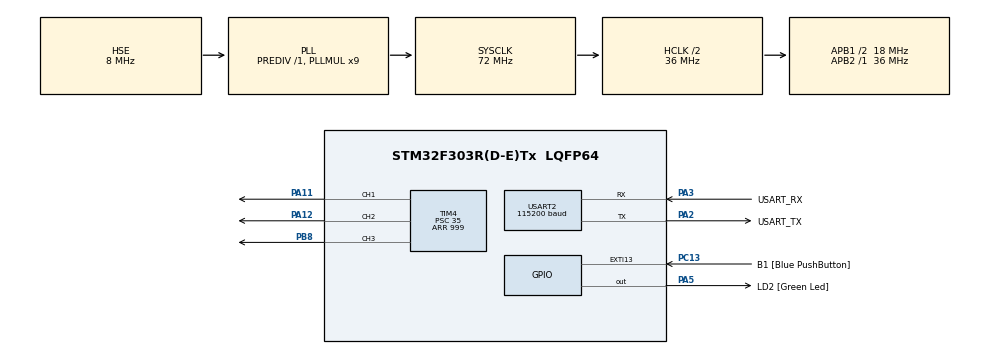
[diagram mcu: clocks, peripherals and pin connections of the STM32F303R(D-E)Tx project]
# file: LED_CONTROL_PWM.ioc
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Dma.Request0=TIM4_CH1
Dma.Request1=TIM4_CH2
Dma.Request2=TIM4_CH3
Dma.TIM4_CH1.0.Direction=DMA_MEMORY_TO_PERIPH
Dma.TIM4_CH1.0.Instance=DMA1_Channel1
Dma.TIM4_CH1.0.MemDataAlignment=DMA_MDATAALIGN_WORD
Dma.TIM4_CH1.0.MemInc=DMA_MINC_ENABLE
Dma.TIM4_CH1.0.Mode=DMA_CIRCULAR
Dma.TIM4_CH1.0.PeriphDataAlignment=DMA_PDATAALIGN_HALFWORD
Dma.TIM4_CH1.0.PeriphInc=DMA_PINC_DISABLE
Dma.TIM4_CH1.0.Priority=DMA_PRIORITY_HIGH
Dma.TIM4_CH2.1.Direction=DMA_MEMORY_TO_PERIPH
Dma.TIM4_CH2.1.Instance=DMA1_Channel4
Dma.TIM4_CH2.1.MemDataAlignment=DMA_MDATAALIGN_WORD
Dma.TIM4_CH2.1.MemInc=DMA_MINC_ENABLE
Dma.TIM4_CH2.1.Mode=DMA_CIRCULAR
Dma.TIM4_CH2.1.PeriphDataAlignment=DMA_PDATAALIGN_HALFWORD
Dma.TIM4_CH2.1.PeriphInc=DMA_PINC_DISABLE
Dma.TIM4_CH2.1.Priority=DMA_PRIORITY_HIGH
Dma.TIM4_CH3.2.Direction=DMA_MEMORY_TO_PERIPH
Dma.TIM4_CH3.2.Instance=DMA1_Channel5
Dma.TIM4_CH3.2.MemDataAlignment=DMA_MDATAALIGN_WORD
Dma.TIM4_CH3.2.MemInc=DMA_MINC_ENABLE
Dma.TIM4_CH3.2.Mode=DMA_CIRCULAR
Dma.TIM4_CH3.2.PeriphDataAlignment=DMA_PDATAALIGN_HALFWORD
Dma.TIM4_CH3.2.PeriphInc=DMA_PINC_DISABLE
Dma.TIM4_CH3.2.Priority=DMA_PRIORITY_HIGH
Mcu.Family=STM32F3
Mcu.Name=STM32F303R(D-E)Tx
Mcu.Package=LQFP64
NVIC.DMA1_Channel1_IRQn=true\:0\:0\:false\:false\:true\:false\:true\:true
NVIC.DMA1_Channel4_IRQn=true\:0\:0\:false\:false\:true\:false\:true\:true
NVIC.DMA1_Channel5_IRQn=true\:0\:0\:false\:false\:true\:false\:true\:true
NVIC.PriorityGroup=NVIC_PRIORITYGROUP_0
NVIC.TIM4_IRQn=true\:0\:0\:false\:false\:true\:true\:true\:true
NVIC.USART2_IRQn=true\:0\:0\:false\:false\:true\:true\:true\:true
PA11.Signal=S_TIM4_CH1
PA12.Signal=S_TIM4_CH2
PA13.GPIO_Label=TMS
PA13.Mode=Serial_Wire
PA13.Signal=SYS_JTMS-SWDIO
PA14.GPIO_Label=TCK
PA14.Mode=Serial_Wire
PA14.Signal=SYS_JTCK-SWCLK
PA2.GPIO_Label=USART_TX
PA2.GPIO_Mode=GPIO_MODE_AF_PP
PA2.GPIO_PuPd=GPIO_NOPULL
PA2.GPIO_Speed=GPIO_SPEED_FREQ_LOW
PA2.Mode=Asynchronous
PA2.Signal=USART2_TX
PA3.GPIO_Label=USART_RX
PA3.GPIO_Mode=GPIO_MODE_AF_PP
PA3.GPIO_PuPd=GPIO_NOPULL
PA3.GPIO_Speed=GPIO_SPEED_FREQ_LOW
PA3.Mode=Asynchronous
PA3.Signal=USART2_RX
PA5.GPIO_Label=LD2 [Green Led]
PA5.GPIO_Mode=GPIO_MODE_OUTPUT_PP
PA5.GPIO_PuPd=GPIO_NOPULL
PA5.GPIO_Speed=GPIO_SPEED_FREQ_LOW
PA5.Signal=GPIO_Output
PB3.GPIO_Label=SWO
PB3.Signal=SYS_JTDO-TRACESWO
PB8.Signal=S_TIM4_CH3
PC13.GPIO_Label=B1 [Blue PushButton]
PC13.GPIO_ModeDefaultEXTI=GPIO_MODE_IT_FALLING
PC13.Signal=GPXTI13
PC14-OSC32_IN.Mode=LSE-External-Oscillator
PC14-OSC32_IN.Signal=RCC_OSC32_IN
PC15-OSC32_OUT.Mode=LSE-External-Oscillator
PC15-OSC32_OUT.Signal=RCC_OSC32_OUT
PF0-OSC_IN.Mode=HSE-External-Oscillator
PF0-OSC_IN.Signal=RCC_OSC_IN
PF1-OSC_OUT.Mode=HSE-External-Oscillator
PF1-OSC_OUT.Signal=RCC_OSC_OUT
ProjectManager.HeapSize=0x200
ProjectManager.StackSize=0x400
ProjectManager.TargetToolchain=STM32CubeIDE
RCC.AHBCLKDivider=RCC_SYSCLK_DIV2
RCC.AHBFreq_Value=36000000
RCC.APB1CLKDivider=RCC_HCLK_DIV2
RCC.APB1Freq_Value=18000000
RCC.APB1TimFreq_Value=36000000
RCC.APB2Freq_Value=36000000
RCC.APB2TimFreq_Value=36000000
RCC.CortexFreq_Value=36000000
RCC.HCLKFreq_Value=36000000
RCC.HSE_VALUE=8000000
RCC.HSI_VALUE=8000000
RCC.PLLM=8
RCC.PLLMUL=RCC_PLL_MUL9
RCC.PLLN=336
RCC.PLLP=RCC_PLLP_DIV4
RCC.PLLQ=7
RCC.PLLSourceVirtual=RCC_PLLSOURCE_HSE
RCC.RCC_PLLsource_Clock_Source_FROM_HSE=RCC_HSE_PREDIV_DIV2
RCC.SYSCLKFreq_VALUE=72000000
RCC.SYSCLKSourceVirtual=RCC_SYSCLKSOURCE_PLLCLK
RCC.USBFreq_Value=72000000
SH.S_TIM4_CH1.0=TIM4_CH1,PWM Generation1 CH1
SH.S_TIM4_CH2.0=TIM4_CH2,PWM Generation2 CH2
SH.S_TIM4_CH3.0=TIM4_CH3,PWM Generation3 CH3
TIM4.AutoReloadPreload=TIM_AUTORELOAD_PRELOAD_ENABLE
TIM4.Channel-PWM\ Generation1\ CH1=TIM_CHANNEL_1
TIM4.Channel-PWM\ Generation2\ CH2=TIM_CHANNEL_2
TIM4.Channel-PWM\ Generation3\ CH3=TIM_CHANNEL_3
TIM4.Period=999
TIM4.Prescaler=35
USART2.BaudRate=115200
USART2.VirtualMode-Asynchronous=VM_ASYNC
VP_TIM4_VS_ClockSourceINT.Mode=Internal
board=NUCLEO-F303RE

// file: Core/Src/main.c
/* USER CODE BEGIN Header */
/**
  ******************************************************************************
  * @file           : main.c
  * @brief          : Main program body
  ******************************************************************************
  * @attention
  *
  * Copyright (c) 2022 STMicroelectronics.
  * All rights reserved.
  *
  * This software is licensed under terms that can be found in the LICENSE file
  * in the root directory of this software component.
  * If no LICENSE file comes with this software, it is provided AS-IS.
  *
  ******************************************************************************
  */
/* USER CODE END Header */
#include "main.h"

/* USER CODE BEGIN Includes */

#include <string.h>
#include <stdio.h>
#include <stdarg.h>
#include <stdlib.h>
#include <math.h>

/* USER CODE END Includes */

TIM_HandleTypeDef htim4;
DMA_HandleTypeDef hdma_tim4_ch1;
DMA_HandleTypeDef hdma_tim4_ch2;
DMA_HandleTypeDef hdma_tim4_ch3;

UART_HandleTypeDef huart2;

/* USER CODE BEGIN PV */
#define RX_BF_length 512												// Max długość buforu odczytu
#define TX_BF_length 1512												// Max długość buforu transmisji
uint8_t RX_BF[RX_BF_length];											// Deklaracja zmiennej dla bufora odczytu
uint8_t TX_BF[TX_BF_length];											// Deklaracja zmiennej dla bufora transmisji

// Indeksy buforów, pobieranych bezpośrednio z pamięci (volatile)

__IO int RX_IDX_EMPTY = 0;
__IO int RX__IDX_BUSY = 0;
__IO int TX_IDX_EMPTY = 0;
__IO int TX_IDX_BUSY = 0;

/* USER CODE END PV */

void SystemClock_Config(void);
static void MX_GPIO_Init(void);
static void MX_DMA_Init(void);
static void MX_USART2_UART_Init(void);
static void MX_TIM4_Init(void);
/* USER CODE BEGIN PFP */

// Prototypy funkcji
int getSection(int8_t dlugoscSekcji, int8_t sekcja, int16_t globalIndex, char oczekiwanyZnak);	// Funkcja pobierająca sekcjie ramki oddzielone separatorami
int isNUM(int8_t numberLength, int16_t maxValue, int8_t minValue ,int8_t section);				// Funkcja sprawdzajaca czy znaki są z systemu dziesiętnego oraz konwertująca STR -> INT
void frameRecall(int ID, int sectionID);		// Komunikaty zwrotne
void searchFrame();								// Poszukiwanie ramki / kolekcjonowanie
void readFrame();								// Wydzielanie ramki na sekcjie
void getCommand();								// Wydzielanie danych na komende i argument
void getNumArgument();							// Zamiana argumentu String -> Int
void executeCommand();							// Wykonanie komendy
void checkCRC();								// Sprawdzenie CRC
void checkData();								// Sprawdzenie czy sekcja danych nie zawiera błędów

// Prototypy komend
void BRGHT(int stockBrigthness);				// Zmiana jasności diody
void STCLR();									// Zmiana koloru poprzez wpisanie 3 zmiennych
void COLOR();									// Zmiana koloru poprzez wpisanie nazwy koloru
void EFFCT();									// Zmiania efektu diody
void RGBST();									// Wł/Wył diody
void GETST();									// Pobieranie infomracji o diodzie stan/jasność/efekt

// Protorypy funkcji generujących efekty.
void generatePoliceLights(uint32_t *redPWMValues, uint32_t *greenPWMValues, uint32_t *bluePWMValues);
void generateDiscoEffect(uint32_t *redPWMValues, uint32_t *greenPWMValues, uint32_t *bluePWMValues);
void generateBreathingEffect(uint32_t *redPWMValues, uint32_t *greenPWMValues, uint32_t *bluePWMValues);
void generateHeartBeatEffect(uint32_t *redPWMValues, uint32_t *greenPWMValues, uint32_t *bluePWMValues);
void generateBlinkingEffect(uint32_t *redPWMValues, uint32_t *greenPWMValues, uint32_t *bluePWMValues);
void generaterandomBlinkingEffect(uint32_t *redPWMValues, uint32_t *greenPWMValues, uint32_t *bluePWMValues);

// Prototyp funkcji oraz zmiennej do srpawdzania CRC
unsigned int crc(char *data, unsigned int length);

// Tablica wartości CRC, kod generujący tą tablice jest w pliku help.txt
unsigned int crc_table[256] = {0, 49345, 49537, 320, 49921, 960, 640, 49729, 50689, 1728, 1920, 51009, 1280, 50625, 50305, 1088, 52225,
		3264, 3456, 52545, 3840, 53185, 52865, 3648, 2560, 51905, 52097, 2880, 51457, 2496, 2176, 51265, 55297, 6336, 6528, 55617,
		6912, 56257, 55937, 6720, 7680, 57025, 57217, 8000, 56577, 7616, 7296, 56385, 5120, 54465, 54657, 5440, 55041, 6080, 5760,
		54849, 53761, 4800, 4992, 54081, 4352, 53697, 53377, 4160, 61441, 12480, 12672, 61761, 13056, 62401, 62081, 12864, 13824,
		63169, 63361, 14144, 62721, 13760, 13440, 62529, 15360, 64705, 64897, 15680, 65281, 16320, 16000, 65089, 64001, 15040, 15232,
		64321, 14592, 63937, 63617, 14400, 10240, 59585, 59777, 10560, 60161, 11200, 10880, 59969, 60929, 11968, 12160, 61249, 11520,
		60865, 60545, 11328, 58369, 9408, 9600, 58689, 9984, 59329, 59009, 9792, 8704, 58049, 58241, 9024, 57601, 8640, 8320, 57409,
		40961, 24768, 24960, 41281, 25344, 41921, 41601, 25152, 26112, 42689, 42881, 26432, 42241, 26048, 25728, 42049, 27648, 44225,
		44417, 27968, 44801, 28608, 28288, 44609, 43521, 27328, 27520, 43841, 26880, 43457, 43137, 26688, 30720, 47297, 47489, 31040,
		47873, 31680, 31360, 47681, 48641, 32448, 32640, 48961, 32000, 48577, 48257, 31808, 46081, 29888, 30080, 46401, 30464, 47041,
		46721, 30272, 29184, 45761, 45953, 29504, 45313, 29120, 28800, 45121, 20480, 37057, 37249, 20800, 37633, 21440, 21120, 37441,
		38401, 22208, 22400, 38721, 21760, 38337, 38017, 21568, 39937, 23744, 23936, 40257, 24320, 40897, 40577, 24128, 23040, 39617,
		39809, 23360, 39169, 22976, 22656, 38977, 34817, 18624, 18816, 35137, 19200, 35777, 35457, 19008, 19968, 36545, 36737, 20288,
		36097, 19904, 19584, 35905, 17408, 33985, 34177, 17728, 34561, 18368, 18048, 34369, 33281, 17088, 17280, 33601, 16640, 33217, 32897, 16448, };

/* USER CODE END PFP */

/* USER CODE BEGIN 0 */

// __________________________________ USART FUNCTIONS BEGIN __________________________________

uint8_t USART_kbhit()																			// Funkcja sprawdza czy jest cos w buforze,
{																								// jezeli nie ma zwraca false(0) inaczej true(1)
	if (RX_IDX_EMPTY == RX__IDX_BUSY) return 0;
	else return 1;
}

int16_t USART_getChar()																			// Funkcja pobierająca znak z bufora
{
	int16_t charTMP;
	if (RX_IDX_EMPTY != RX__IDX_BUSY)
	{
		charTMP = RX_BF[RX__IDX_BUSY];
		RX__IDX_BUSY++;
		if (RX__IDX_BUSY >= RX_BF_length) RX__IDX_BUSY = 0;
		return charTMP;
	}
	else return -1;
}

void USART_fsend(char* format, ...)														// Wysyłanie do terminala
{
	char tmp_rs[RX_BF_length];															// !!!!!!!!!!!!!!!!!!!!!!!!!!!!!!!!!!!!!!!!!! Jezeli tu damy za małą wartość program sie wysypie???
	int i;
	__IO int idx;
	va_list arglist;																	// Zmienna do obsługi formatowania argumentów
	va_start(arglist,format);															// Umożliwia dostęp do zmiennych argumentów funkcji
	vsprintf(tmp_rs,format,arglist);													// Połączenie łańcucha argumentów i przypisanie do tmp_rs
	va_end(arglist);
	idx = TX_IDX_EMPTY;

	for(i = 0; i < strlen(tmp_rs) ; i++)
	{
		TX_BF[idx] = tmp_rs[i];															// Przepisanie znaku do bufora transmisji
		idx++;
		if (idx >= TX_BF_length) idx = 0;												// Zawinięcie bufora jeżeli indeks wyjdzie poza zakres
	}
	__disable_irq();																	// Wyłączenie zapytań przerwań

	if ((TX_IDX_EMPTY == TX_IDX_BUSY) && (__HAL_UART_GET_FLAG(&huart2,UART_FLAG_TXE)==SET))
	{
		TX_IDX_EMPTY = idx;
		uint8_t tmp = TX_BF[TX_IDX_BUSY];												// Zmienna zawierająca znak do wysłania
		TX_IDX_BUSY++;
		if (TX_IDX_BUSY >= TX_BF_length) TX_IDX_BUSY = 0;
		HAL_UART_Transmit_IT(&huart2, &tmp, 1);											// Transmisja elementu
	} else TX_IDX_EMPTY = idx;
	__enable_irq();																		// Włączenie zapytań przerwań
}//fsend

void HAL_UART_TxCpltCallback(UART_HandleTypeDef *huart)
{
	if (huart == &huart2)
	{
		if (TX_IDX_EMPTY != TX_IDX_BUSY)
		{
			uint8_t tmp = TX_BF[TX_IDX_BUSY];
			TX_IDX_BUSY++;
			if (TX_IDX_BUSY >= TX_BF_length) TX_IDX_BUSY = 0;
			HAL_UART_Transmit_IT(&huart2, &tmp, 1);
		}
	}
}

void HAL_UART_RxCpltCallback(UART_HandleTypeDef *huart)
{
	if (huart == &huart2)
	{
		RX_IDX_EMPTY++;
		if (RX_IDX_EMPTY >= RX_BF_length)
		{
			RX_IDX_EMPTY = 0;
		}
		HAL_UART_Receive_IT(&huart2, &RX_BF[RX_IDX_EMPTY], 1);
	}
}

// __________________________________ USART FUNCTIONS END __________________________________

// ====================================================== SEARCH FRAME FUNCTION START ======================================================

#define MAX_SIZE 218											// Zdefiniowanie max. długości ramki
#define MIN_SIZE 28												// Zdefiniowanie min. długość ramki

int16_t frameLength = 0;										// Zmianna obliczająca długość ramki
int8_t detectionFlag = 0;										// Flaga detekcji ramki.
char frame[MAX_SIZE];											// Tablica ramki

void searchFrame(){

	// Oczekiwanie na znak rozpoczęcia
	int16_t character = USART_getChar();
	if (character < 0) return;

	USART_fsend("%c", character);							// Podobno nie powinno sie wyświetlać wysłanych znaków (? Zaliczenie ?)

	// Jeśli znaleziono znak rozpoczęcia rozpoczyna odczyt
	if (character == '@') {
	    frameLength = 0;
	    detectionFlag = 1;
	}

	if (detectionFlag == 1) {
	    frame[frameLength++] = character;
	    // Jeśli znaleziono znak końca ramki
	    if (character == '$') {
	        frame[frameLength] = '\0';
	        // Reset funkcji jeżeli ramka jest za krótka
	        if (frameLength < 28) {
	    		detectionFlag = 0;
	    		return;
	    	}
	        readFrame();
	        detectionFlag = 0;
	    }
	    // Jeśli ramka przekroczyła maksymalny rozmiar
	    if (frameLength > MAX_SIZE){
	        detectionFlag = 0;
	        return;
	    }
	}
}

// ====================================================== SEARCH FRAME FUNCTION END ======================================================

// ====================================================== READ FRAME FUNCTION START ======================================================

#define SENDER 1													// Odczyt nadawcy z ramki
#define RECEIVER 2													// Odczyt adresata z ramki
#define COMMAND_LENGTH 3											// Odczyt długości komendy
#define COMMAND 4													// Odczyt sekcji komendy
#define CHECK_SUM 5													// Odczyt sumy kontrolnej
#define EXECUTE 6													// Wykonanie komendy

#define startCharacter '@'											// Znak rozpoczęcia ramki
#define endCharacter '$'											// Znak końca ramki
#define separator ':'												// Separator
#define senAdr "PC1"												// ID nadawcy
#define recAdr "STM"												// ID odbiorcy

// Dane odczytane z ramki
char senderAdr[4];													// Tablica z danymi nadawcy ( 3 znaki + '\0' )
char receiverAdr[4];												// Tablica z danymi odbiorcy ( 3 znaki + '\0' )
int16_t maxCmdLen = 0;												// Długość komendy
char receivedData[MAX_SIZE];										// Tablica z przysłanymi danymi
char commandType[4];												// Tablica z danymi o typie komendy ( 3 znaki + '\0' )
char command[15];													// Tablica z komendą
char commandArg[MAX_SIZE];											// Tablica z danymi argumentu komendy
int32_t frameCRC = 0;												// Zmienna zapisująca sumę CRC podaną w ramce
unsigned int crc_value;												// Obliczone CRC przez program
int numArguments[3];												// Argumenty liczbowe

// Zmienne pomocnicze
char tmpArr[MAX_SIZE];												// Tablica pomocnicza przy obróbce danych
int errorFlag = 0;													// Flaga błędu. 0 - Oznacza ze nie ma błędu, 1 - Oznacza ze nie ma błędu.

/* 	 ******************************************************* TODO LIST *******************************************************

								   - Zmienić i sprawdzić czy DMA prawidłowo ndapisuje buffory w połowie i na końcu.
					* Po zmianie testy efektów nie wykazały żadnych błędów (przerwań w wypełnieniu / pominięcia nadpisania itp.)

						     - Sprwadzić poprawność warunku w searchFrame() sprawdzającego min. długość ramki.
						     	 	 	 	 * Prawidłowo program nie dopuszcza ramki do analizy

							- Zmiana sprawdzania poprawności długości sekcji danych z strlen na coś innego
						* Usunąłem ponieważ za sprawdzanie długość sekcji danych odpowiada funckja getSection

 	 ************************************************************************************************************************* */

int getSection(int8_t dlugoscSekcji, int8_t sekcjaID, int16_t globalIndex, char oczekiwanyZnak){
	// Pętla odpowiedzialna za pobieranie znaków do tablicy tymczasowej
	for (int localIndex = 0; localIndex < dlugoscSekcji + 1; localIndex++){
		if (errorFlag == 1) return 0;
		// Sprawdzenie czy w sekcji nie znajdują się separatory np. @PC:
		if (localIndex < dlugoscSekcji){
			// Sprawdzenie czy znak to '\0'
			if (frame[globalIndex] == '\0') frameRecall(1003, sekcjaID);
			else if (frame[globalIndex] == separator) frameRecall(1001, sekcjaID);
			else tmpArr[localIndex] = frame[globalIndex];
		} else {
			// Jeżeli w sekcji nie było separatorów sprawdza czy ':' lub '$' znajduje się za nią.
			if (frame[globalIndex] != oczekiwanyZnak) frameRecall(1002, sekcjaID);
			else tmpArr[localIndex] = '\0';
		}
		globalIndex++;
	}
	return globalIndex; // Zwraca wartość indeksu w celu odczytu dalszej części ramki
}

int isNUM(int8_t numberLength, int16_t maxValue, int8_t minValue, int8_t section){
	// Sprawdzenie czy znaki są liczbami systemu dziesiętnego

	for (int i = 0; i < numberLength; i++){
		if ((tmpArr[i] < '0' || tmpArr[i] > '9') && errorFlag == 0) frameRecall(2001, section);
	}
	if (errorFlag == 0){
		int number = atoi(tmpArr);
		// Sprawdzenie czy liczba mieści się w dopuszczalnym zakresie.
		if (number < minValue || number > maxValue) frameRecall(2002, section);
		else return number;
	}
} // Jeżeli nie było błędów funkcja zwraca liczbe typu INT

void readFrame(){
	int16_t globalIndex = 1;					// Indeks odczytu przysłanej ramki
	int8_t section = 0;							// Flaga sekcji
	errorFlag = 0;								// Zerowanie flagi błędu

	// Pętla wykona się tyle razy ile jest sekcji + sekcja anonimowa EXECUTE ( Tylko widoczna dla programu )
	for (section; section <= EXECUTE; section){
		// Sprawdzenie czy nie było błędu w poprzedniej sekcji.
		if (errorFlag == 0) section++;
		else return;

		switch (section){
		case SENDER:
			globalIndex = getSection(3, section, globalIndex, separator);
			if (errorFlag == 0) strcpy(senderAdr, tmpArr);
			// Sprawdzenie ID nadawcy
			if (strcmp(senderAdr, senAdr) != 0 && errorFlag == 0) frameRecall(4001, section);
			break;
		case RECEIVER:
			globalIndex = getSection(3, section, globalIndex, separator);
			if (errorFlag == 0) strcpy(receiverAdr, tmpArr);
			// Sprawdzenie ID adresata
			if (strcmp(receiverAdr, recAdr) != 0 && errorFlag == 0) frameRecall(4002, section);
			break;
		case COMMAND_LENGTH:
			globalIndex = getSection(3, section, globalIndex, separator);
			// Konwersja tablicy char -> int
			if (errorFlag == 0) maxCmdLen = isNUM(3, 200, 10, section);
			break;
		case COMMAND:
			globalIndex = getSection(maxCmdLen, section, globalIndex, separator);
			if (errorFlag == 0) strcpy(receivedData, tmpArr);
			break;
		case CHECK_SUM:
			globalIndex = getSection(3, section, globalIndex, endCharacter);
			if (errorFlag == 0) frameCRC = isNUM(3, 999, 0, section);
			break;
		case EXECUTE:
			// Sprawdzenie sumy kontrolnej
			checkCRC();
			// Sprawdzenie sekcji danych ( czy argument / dłgość komendy się zgadzają)
			if (errorFlag == 0) checkData();
			// Pobarnie komendy z sekcji danych
			if (errorFlag == 0) getCommand();
			// Próba wykonania komendy
			if (errorFlag == 0) executeCommand();
			break;
		}
	}
	return;
}

void checkCRC(){
	// Sprawdzenie CRC wynikowe z wysłanym w ramce
	crc_value = crc(receivedData, maxCmdLen) % 999;
	if(crc_value != frameCRC) frameRecall(4003, CHECK_SUM);
}

unsigned int crc(char *data, unsigned int length) {
    unsigned int crc = 0xFFFF;
    for (unsigned int i = 0; i < length; i++) {
        crc = (crc >> 8) ^ crc_table[(crc ^ data[i]) & 0xFF];
    }
    return crc & 0xFFFF;
}

// Sprawdzenie poprawności sekcji danych
void checkData(){

//  Sprawdzenie długości komendy
//	if (strlen(receivedData) != maxCmdLen){
//		frameRecall(4004, COMMAND);
//		return;
//	}

	// Sprawdzenie czy separatory argumentu są na odpowiednich miejscach ( - 1 bo tablica ma jeszcze miejsce dla '\0')
	if (receivedData[8] != '(' || receivedData[maxCmdLen - 1] != ')') {
		frameRecall(4005, COMMAND);
		return;
	}
	// Sprawdzenie czy separatory nie występują w nieoczekiwanych miejscach.
	for (int i = 0; i < maxCmdLen; i++) {
		if (i != 8 && i != maxCmdLen - 1 && (receivedData[i] == '(' || receivedData[i] == ')')) {
			frameRecall(4006, COMMAND);
			return;
		}
	}
}

// Pobranie typu komendy, komendy i argumentu.
void getCommand(){
	// Pobranie typu komendy z sekcji danych
	for (int i = 0; i < 3; i++) {
		commandType[i] = receivedData[i];
	}
	commandType[3] = '\0';

	// Pobranie komendy z sekcji danych
	for (int i = 0; i < 5; i++) {
		command[i] = receivedData[i+3];
	}
	command[5] = '\0';

	// Pobranie argumentu z sekcji danych (typ + komenda + () = 10)
	for (int i = 0; i < maxCmdLen - 10; i++) {
		commandArg[i] = receivedData[i+9];
	}
	// Zamienienie ostatniego znaku argumentu komendy na znak końca stringa
	commandArg[maxCmdLen - 10] = '\0';
	return;
}

// Funkcja konwertująca argument typu STR -> INT
void getNumArgument(){

	// Zerowanie wartości z ostatniej ramki
	for (int i = 0; i < 3; i++) numArguments[i] = 0;

	int numberIndex = 0;                                // Indeks aktualnie odczytywanej liczby
	int argumentNr = 0;                                 // Licznik ilości argumentów

	for (int i = 0; i <= strlen(commandArg); i++){
		tmpArr[numberIndex] = '\0';
		// Jeżeli jest więcej argumentów niż 3 zwraca błąd
        if (argumentNr > 2){
			frameRecall(5007, COMMAND);
			return;
		}
        // Jeżeli znak nie jest separatorem argumentu zapisze znak w tablicy pomocniczej
		if (commandArg[i] != ',' && i != strlen(commandArg)){
			tmpArr[numberIndex++] = commandArg[i];
			tmpArr[numberIndex] = '\0';
		}
        // W przeciwnym razie przejdzie do sprawdzenia argumentu jeżeli jest poprawny odczytuje kolejny
        else {
			numArguments[argumentNr++] = isNUM(numberIndex, 999, 0, COMMAND);
			if (errorFlag == 1) return;
			numberIndex = 0;
		}
	}
}

// Wykonywanie komend
void executeCommand(){
	// Sprawdzenie czy komenda jest typu TXT
	if (strcmp(commandType, "TXT") == 0){
		if (strcmp(command, "COLOR") == 0) COLOR();
		else if (strcmp(command, "EFFCT") == 0) EFFCT();
		else if (strcmp(command, "RGBST") == 0) RGBST();
		else if (strcmp(command, "GETST") == 0) GETST();
        // Jeżeli podana komenda nie istnieje zwórci błąd
		else frameRecall(5001, EXECUTE);
	}
	else if (strcmp(commandType, "NUM") == 0){
		getNumArgument();
		if (errorFlag == 1) return;
		if (strcmp(command, "BRGHT") == 0) BRGHT(0);
		else if (strcmp(command, "STCLR") == 0) STCLR();
        // Jeżeli podana komenda nie istnieje zwróci błąd
		else frameRecall(5002, EXECUTE);
	}
    // Jeżeli podany typ komendy nie istnieje zwórci błąd
    else frameRecall(5003, EXECUTE);
	return;
}

// ====================================================== READ FRAME FUNCTION END ======================================================

// ====================================================== WYKONYWANIE KOMEND START ======================================================
// Deklaracja tablic wykorzystywanych przez DMA

uint32_t redDMAValues_ACTUAL[512];									// Główna tablica DMA używana przez &htim4, TIM_CHANNEL_1 (R)
uint32_t greenDMAValues_ACTUAL[512];								// Główna tablica DMA używana przez &htim4, TIM_CHANNEL_2 (G)
uint32_t blueDMAValues_ACTUAL[512];									// Główna tablica DMA używana przez &htim4, TIM_CHANNEL_3 (B)

uint32_t redDMAValues_NEW[512];                                  	// Tablica DMA podmieniana podczas końca transmisji PWM ( callback )
uint32_t greenDMAValues_NEW[512];                                	// Tablica DMA podmieniana podczas końca transmisji PWM ( callback )
uint32_t blueDMAValues_NEW[512];                                    // Tablica DMA podmieniana podczas końca transmisji PWM ( callback )

uint32_t redDMAValues_SPECIAL[512];                                 // Tablica specjalna do efektów które potrzebują więcej niż  1 callback
uint32_t greenDMAValues_SPECIAL[512];                               // Tablica specjalna do efektów które potrzebują więcej niż  1 callback
uint32_t blueDMABalues_SPECIAL[512];                                // Tablica specjalna do efektów które potrzebują więcej niż  1 callback

int is_half_callbackOne_end = 0;									// Zmienna pilnująca kolejność wypełniania buffora DMA
int is_half_callbackTwo_end = 0;									// Zmienna pilnująca kolejność wypełniania buffora DMA
#define END 1

char actualEffect[20] = {"NONE"};									// Tablica zawierające nazwe aktualnego efektu

#define ON 1
#define OFF -1
#define RESET 0

int ledState = ON;                                                  // Stan diody wł./wył.
float brightness = 100;                                             // Zmienna określająca jasność diody
int prescaler = 35;													// Zmienna zmieniająca częstotliwość

int effectLoop = 1;													// Flaga włączająca i wyłączająca pętle działania efektu
int callbackOne = 0;												// Flaga zmiany efektu
int callbackTwo = 0;												// Dodatkowa flaga zmiany efektu

// ====================================== FUNKCJE POMOCNICZE ======================================

// Inicjalizacja ustawień PWM
void TIM4_change_prescaler(int prescaler) {
    // Ustawienie prescalera w celu zmiany częstotliwości sygnału
	__HAL_TIM_SET_PRESCALER(&htim4, prescaler);
}

// Wypełnianie pierwszej połowy DMA w połowie bufora
void HALF_Transmit_Callback(DMA_HandleTypeDef *htim){
	// Jeżeli zaszła jakaś zmiana efektu diody zostaje przepisana do tablic używanych przez DMA
	if (callbackOne){
		// Podmienienie wartości DMA na nowe
		for (int i = 0; i < 256; i++){
			redDMAValues_ACTUAL[i] = redDMAValues_NEW[i];
			greenDMAValues_ACTUAL[i] = greenDMAValues_NEW[i];
			blueDMAValues_ACTUAL[i] = blueDMAValues_NEW[i];
		}
		// Flaga zakończenia zapełniania pierwszej połowy DMA
		is_half_callbackOne_end = END;
	}
	// Jeżeli jakiś efekt wymagał 2 stopniowej zmiany tablic, wykona się poniższy kod...
	// ...(np. zmiana jasności płynna zmiana(NEW) -> jasność wynikowa (SPECIAL)
	else if (callbackTwo){
		// Podmienienie wartości DMA na nowe
		for (int i = 0; i < 256; i++){
			redDMAValues_ACTUAL[i] = redDMAValues_SPECIAL[i];
			greenDMAValues_ACTUAL[i] = greenDMAValues_SPECIAL[i];
			blueDMAValues_ACTUAL[i] = blueDMABalues_SPECIAL[i];
			// Nadpisanie tablic _NEW zapobiega błędu zmiany jasności -> wył. diody -> wł. diody
			redDMAValues_NEW[i] = redDMAValues_SPECIAL[i];
			greenDMAValues_NEW[i] = greenDMAValues_SPECIAL[i];
			blueDMAValues_NEW[i] = blueDMABalues_SPECIAL[i];

		}
		// Flaga zakończenia zapełniania pierwszej połowy DMA.
		is_half_callbackTwo_end = END;
	}
};

// Wypełnienie drugiej częsci DMA na końcu bufora
void END_Transmit_Callback(DMA_HandleTypeDef *htim)
{
	// Jeżeli zaszła jakaś zmiana efektu diody zostaje przepisana do tablic używanych przez DMA
	if (callbackOne && is_half_callbackOne_end == END){
		// Ustawienie prędkości efektu
		TIM4_change_prescaler(prescaler);
		// Podmienienie wartości DMA na nowe
		for (int i = 256; i < 512; i++){
			redDMAValues_ACTUAL[i] = redDMAValues_NEW[i];
			greenDMAValues_ACTUAL[i] = greenDMAValues_NEW[i];
			blueDMAValues_ACTUAL[i] = blueDMAValues_NEW[i];
		}
		// Reset flag wykonujących kod przerwania
		callbackOne = 0;
		is_half_callbackOne_end = 0;
	}
	// Jeżeli jakiś efekt wymagał 2 stopniowej zmiany tablic, wykona się poniższy kod...
	// ...(np. zmiana jasności: płynna zmiana(NEW) -> jasność wynikowa (SPECIAL)
	else if (callbackTwo && is_half_callbackTwo_end == END){
		// Ustawienie prędkości efektu
		TIM4_change_prescaler(prescaler);
		// Podmienienie wartości DMA na nowe
		for (int i = 256; i < 512; i++){
			redDMAValues_ACTUAL[i] = redDMAValues_SPECIAL[i];
			greenDMAValues_ACTUAL[i] = greenDMAValues_SPECIAL[i];
			blueDMAValues_ACTUAL[i] = blueDMABalues_SPECIAL[i];
			// Nadpisanie tablic _NEW zapobiega błędu zmiany jasności -> wył. diody -> wł. diody
			redDMAValues_NEW[i] = redDMAValues_SPECIAL[i];
			greenDMAValues_NEW[i] = greenDMAValues_SPECIAL[i];
			blueDMAValues_NEW[i] = blueDMABalues_SPECIAL[i];
		}
		// Reset flag wykonujących kod przerwania
		callbackTwo = 0;
		is_half_callbackTwo_end = 0;
	}
}

void start_PWM_DMA(){
	// Inicjalizacja transmisji 3 KANAŁÓW PWM'a z użyciem DMA
	HAL_TIM_PWM_Start_DMA(&htim4, TIM_CHANNEL_1, (uint32_t *)redDMAValues_ACTUAL, 512);
	HAL_TIM_PWM_Start_DMA(&htim4, TIM_CHANNEL_2, (uint32_t *)greenDMAValues_ACTUAL, 512);
	HAL_TIM_PWM_Start_DMA(&htim4, TIM_CHANNEL_3, (uint32_t *)blueDMAValues_ACTUAL, 512);

	// Ustawienie wskaźnika callback w połowie transmisji z DMA do peryferium
	htim4.hdma[TIM_DMA_ID_CC1]->XferHalfCpltCallback = HALF_Transmit_Callback;

	// Ustawienie wskaźnika callback na końcu transmisji z DMA do peryferium.
	htim4.hdma[TIM_DMA_ID_CC1]->XferCpltCallback = END_Transmit_Callback;
}

// Funkcja odpowiedzialna za wyłączanie i włączanie diody (Podmiana starych wartości na 0 lub odwrotnie)
void switch_PWM_DMA(uint32_t *nullDMARed, uint32_t *nullDMAGreen, uint32_t *nullDMABlue, int ledFlag){
	// Zmienne przechowujące stare wartości DMA
	static uint32_t oldRedDMA[512];
	static uint32_t oldGreenDMA[512];
	static uint32_t oldBlueDMA[512];
	// Wyłączenie polega na podmienieniu wartości tablic DMA na zerowe
	if (ledFlag == OFF){
		for (int i = 0; i < 512; i++){
			// Zapamiętanie ostatniego stanu.
			oldRedDMA[i] = redDMAValues_NEW[i];
			oldGreenDMA[i] = greenDMAValues_NEW[i];
			oldBlueDMA[i] = blueDMAValues_NEW[i];
			// Wyłączenie diody
			redDMAValues_NEW[i] = 0;
			greenDMAValues_NEW[i] = 0;
			blueDMAValues_NEW[i] = 0;
			ledState = OFF;
			callbackOne = 1;
		}
	// Włączenie polega na podmienienu wartości tablic DMA na poprzednie
	} else if (ledFlag == ON){
		for (int i = 0; i < 512; i++){
			// Przywrócenie starej jasności
			redDMAValues_NEW[i] = oldRedDMA[i];
			greenDMAValues_NEW[i] = oldGreenDMA[i];
			blueDMAValues_NEW[i] = oldBlueDMA[i];
			oldRedDMA[i] = 0;
			oldGreenDMA[i] = 0;
			oldBlueDMA[i] = 0;
			ledState = ON;
			callbackOne = 1;
		}
	// Dodatkowa opcja która podmiena stare wartości na nowe podczas zmiany efektu.
	} else if (ledFlag == RESET){
		for (int i = 0; i < 512; i++){
			// Pobranie nowego efektu. ( Unikniknięcie pominięcia zmian w sytuacji: Efekt -> Wył. -> Zmiana efektu -> Wł.diody )
			oldRedDMA[i] = redDMAValues_NEW[i];
			oldGreenDMA[i] = greenDMAValues_NEW[i];
			oldBlueDMA[i] = blueDMAValues_NEW[i];
		}
	}
}

// ====================================== FUNKCJE EFEKTÓW ======================================

// Funkcja odpowiadająca za zmianę efektu diody
void EFFCT(){
	if (strcmp(commandArg, "POLICE") == 0){
		strcpy(actualEffect, commandArg);
		prescaler = 35;
		generatePoliceLights(redDMAValues_NEW, greenDMAValues_NEW, blueDMAValues_NEW);
	}
	else if (strcmp(commandArg, "DISCO") == 0){
		prescaler = 35;
		strcpy(actualEffect, commandArg);
		generateDiscoEffect(redDMAValues_NEW, greenDMAValues_NEW, blueDMAValues_NEW);

	}
	else if (strcmp(commandArg, "BREATH") == 0){
		prescaler = 550;
		strcpy(actualEffect, commandArg);
		generateBreathingEffect(redDMAValues_NEW, greenDMAValues_NEW, blueDMAValues_NEW);

	}
	else if (strcmp(commandArg, "HEART") == 0){
		strcpy(actualEffect, commandArg);
		prescaler = 35;
		generateHeartBeatEffect(redDMAValues_NEW, greenDMAValues_NEW, blueDMAValues_NEW);

	}
	else if (strcmp(commandArg, "BLINKING") == 0){
		prescaler = 150;
		strcpy(actualEffect, commandArg);
		generateBlinkingEffect(redDMAValues_NEW, greenDMAValues_NEW, blueDMAValues_NEW);
	}
	else if (strcmp(commandArg, "RANDOM") == 0){
		prescaler = 175;
		strcpy(actualEffect, commandArg);
		generaterandomBlinkingEffect(redDMAValues_NEW, greenDMAValues_NEW, blueDMAValues_NEW);
	} else {
		frameRecall(5005, EXECUTE);
		return;
	}
	// Flaga infomrująca ze nastąpiła zmiana efektu diody ( callback )
	callbackOne = 1;
	// Resetowanie jasności diody
	BRGHT(1);
	// Wysłanie komunikatu zwrotnego.
	frameRecall(9002, EXECUTE);
	// Pobranie nowego efektu w celu przechowywania podczas wyłączonej diody.
	switch_PWM_DMA(redDMAValues_NEW, greenDMAValues_NEW, blueDMAValues_NEW, RESET);
}

void generatePoliceLights(uint32_t *redPWMValues, uint32_t *greenPWMValues, uint32_t *bluePWMValues) {
	for (int i = 0; i < 512; i++){
		// Wypełnienie tablicy koloru czerwonego w 50%
		if (i < 256){
			bluePWMValues[i] = 0;
			redPWMValues[i] = 899;
			greenPWMValues[i] = 0;
		}
		// Wypełnienie tablicy koloru niebieskiego w 50%
		else {
			bluePWMValues[i] = 899;
			redPWMValues[i] = 0;
			greenPWMValues[i] = 0;
		}
	}
}

void generateDiscoEffect(uint32_t *redPWMValues, uint32_t *greenPWMValues, uint32_t *bluePWMValues) {
	// Pętla przygotowująca wartości dla bufora DMA
	for (int i = 0; i < 512; i++) {
        redPWMValues[i] = (uint32_t)((sin(i * 2 * M_PI / 512) + 1) * 0.5 * 999);
        greenPWMValues[i] = (uint32_t)((sin(i * 2 * M_PI / 512 + 2 * M_PI / 3) + 1) * 0.5 * 999);
        bluePWMValues[i] = (uint32_t)((sin(i * 2 * M_PI / 512 + 4 * M_PI / 3) + 1) * 0.5 * 999);
    }
}

void generateBreathingEffect(uint32_t *redPWMValues, uint32_t *greenPWMValues, uint32_t *bluePWMValues) {
	// Paleta kolorów dla wartości RGB w systemie <0, 255> mnożnik * 3,917647058823529.
	uint32_t colorPalette[16][3] = {
			{999,0,0},		{600,0,0},		{999,501,0},	{999,999,0},
			{501,999,0},	{0,999,0}, 		{0,999,501},	{0,999,999},
			{0,501,999},	{0,0,999},		{501,0,999},	{298,0,600},
			{999,0,999},	{600,0,600},	{999,0,498},	{600,0,298}
	};
	int nextColor = 32;
	int paletteIndex = 0;
    // Pętla przygotowująca wartości dla bufora DMA ( takie aby generowały efekt oddychania dla każdego koloru )
	for (uint32_t i = 0; i < 512; i++) {
    	if (i < nextColor){
    		redPWMValues[i] = (uint32_t)((sin(i * 1 * M_PI / 16) + 1) * 0.5 * colorPalette[paletteIndex][0]);
    		greenPWMValues[i] = (uint32_t)((sin(i * 1 * M_PI / 16) + 1) * 0.5 * colorPalette[paletteIndex][1]);
    		bluePWMValues[i] = (uint32_t)((sin(i * 1 * M_PI / 16) + 1) * 0.5 * colorPalette[paletteIndex][2]);
    	}
    	else {
    		paletteIndex++;
    		nextColor += 32;

    	}
    }
}

void generateHeartBeatEffect(uint32_t *redPWMValues, uint32_t *greenPWMValues, uint32_t *bluePWMValues) {
	// Przebieg zmieniający wartości wypełnienia okresu PWM OUT ( W tym przypadku jasność danej składowej R/G/B )
	for (int i = 0; i < 512; i++) {
		if (i < 256) {
			redPWMValues[i] = 999 - (i * 3);
			greenPWMValues[i] = 0;
			bluePWMValues[i] = 0;
		}
		else
		{
			// Przytrzymanie wypełnienia na 999 - (256 * 3) = 231 dla lepszego efektu bicia serca.
			redPWMValues[i] = 231;
			greenPWMValues[i] = 0;
			bluePWMValues[i] = 0;
		}
	}
}

void generateBlinkingEffect(uint32_t *redPWMValues, uint32_t *greenPWMValues, uint32_t *bluePWMValues){
	// Paleta kolorów dla wartości RGB w systemie <0, 255> mnożnik * 3,917647058823529.
	uint32_t colorPalette[16][3] = {
			{999,0,0},		{600,0,0},		{999,501,0},	{999,999,0},
			{501,999,0},	{0,999,0}, 		{0,999,501},	{0,999,999},
			{0,501,999},	{0,0,999},		{501,0,999},	{298,0,600},
			{999,0,999},	{600,0,600},	{999,0,498},	{600,0,298}
	};

	int nextColor = 32;
	int paletteIndex = 0;
	// Pętla przygotowująca wartości dla bufora DMA ( co 32 słowa zmiana koloru )
	for (int i = 0; i < 512; i++){
		if (i < nextColor){
			redPWMValues[i] = colorPalette[paletteIndex][0];
			greenPWMValues[i] = colorPalette[paletteIndex][1];
			bluePWMValues[i] = colorPalette[paletteIndex][2];
		} else {
			paletteIndex++;
			nextColor += 32;
		}
	}
}

void generaterandomBlinkingEffect(uint32_t *redPWMValues, uint32_t *greenPWMValues, uint32_t *bluePWMValues){
	int nextColor = 16;
	srand(HAL_GetTick());
	int randomR = rand() % 1001;
	int randomG = rand() % 1001;
	int randomB = rand() % 1001;
	for (int i = 0; i < 512; i++){
		if (i <= nextColor){
		redPWMValues[i] = randomR;
		greenPWMValues[i] = randomG;
		bluePWMValues[i] = randomB;
		} else {
			int tmp = 0;
			while (tmp++ < 100) if(USART_kbhit()) searchFrame();
			randomR = rand() % 1001;
			randomG = rand() % 1001;
			randomB = rand() % 1001;
			nextColor += nextColor;
		}
	}
}

// ====================================== FUNKCJE ZMIANY KOLORÓW ======================================

void STCLR(){
	strcpy(actualEffect, command);
	for (int i = 0; i < 512; i++){
		redDMAValues_NEW[i] = numArguments[0];
		greenDMAValues_NEW[i] = numArguments[1];
		blueDMAValues_NEW[i] = numArguments[2];
	}
	// Ustawienie częstotliowsci TIMERA
	prescaler = 35;
	// Informacja że powinna nastąpić zmiana efektu diody RGB ( callback )
	callbackOne = 1;
	// Resetowanie jasności
	BRGHT(1);
	// Pobranie nowego efektu w celu przechowywania podczas wyłączonej diody.
	switch_PWM_DMA(redDMAValues_NEW, greenDMAValues_NEW, blueDMAValues_NEW, RESET);
	// Wysłanie komunikatu zwrotnego
	frameRecall(9001, EXECUTE);
}

void COLOR(){
	// Pobranie nazwy efektu w celu wyświetlenia callback'a
	strcpy(actualEffect, command);
	// Ustawia diodę na wybrany kolor.
	int redValue = 0, greenValue = 0, blueValue = 0;
		if (strcmp(commandArg, "RED") == 0) {
			redValue = 999;
		} else if (strcmp(commandArg, "GREEN") == 0) {
			greenValue = 999;
		} else if (strcmp(commandArg, "BLUE") == 0) {
			blueValue = 999;
		} else if (strcmp(commandArg, "YELLOW") == 0) {
			redValue = 999;
			greenValue = 999;
		} else if (strcmp(commandArg, "ORANGE") == 0) {
			redValue = 999;
			greenValue = 501;
		} else if (strcmp(commandArg, "PINK") == 0) {
			redValue = 999;
			greenValue = 200;
			blueValue = 600;
		} else if (strcmp(commandArg, "PURPLE") == 0) {
			redValue = 600;
			blueValue = 600;
		} else if (strcmp(commandArg, "CYAN") == 0) {
			redValue = 200;
			greenValue = 999;
			blueValue = 999;
		} else {
			frameRecall(5006, EXECUTE);
			return;
		}
		// Przypisywanie wybranych wartości do buforów
		for (int i = 0; i < 512; i++) {
			redDMAValues_NEW[i] = redValue;
			greenDMAValues_NEW[i] = greenValue;
			blueDMAValues_NEW[i] = blueValue;
		}
		// Ustawienie częstotliowsci TIMERA
		prescaler = 35;
		// Informacja że powinna nastąpić zmiana efektu diody RGB ( callback )
		callbackOne = 1;
		// Resetowanie jasności diody
		BRGHT(1);
		// Wysłanie komunikatu zwrotnego
		frameRecall(9006, EXECUTE);
		// Pobranie nowego efektu w celu przechowywania podczas wyłączonej diody.
		switch_PWM_DMA(redDMAValues_NEW, greenDMAValues_NEW, blueDMAValues_NEW, RESET);
		return;
}

// ====================================== FUNKCJE ZMIANY STANU DIODY / ODCZYT STANU DIODY ======================================

void BRGHT(int stockBrigthness){
	// Bufory DMA z wartościami 100%.
	static uint32_t redStockBrigthnes[512];
	static uint32_t greenStockBrigthnes[512];
	static uint32_t blueStockBrigthnes[512];
	static float oldBrightness = 100;							// Stara jasność
	// Jeżeli funkcja przyjeła flage stockBrigthness == 1, zapisuje podstawowe intensywności składowych RGB
	if (stockBrigthness){
		// Zapis jasności 100% ( od niej zawsze jest odliczana jasność )
		brightness = (float)100;
		for (int i = 0; i < 512; i++){
			redStockBrigthnes[i] = redDMAValues_NEW[i];
			greenStockBrigthnes[i] = greenDMAValues_NEW[i];
			blueStockBrigthnes[i] = blueDMAValues_NEW[i];
		}
	}
	// Jeżeli flaga stockBrigthness != 1 oznacza że użytkownik chce zmienić jasnośc diody
	else {
		// Zapis nowej jasności
		oldBrightness = brightness;
		brightness = (float)numArguments[0];
		// Błąd zakresu liczby
		if (brightness > 100){
			frameRecall(2002, EXECUTE);
			return;
		}
		float t;
		// Pętla odpowiedzialna za wyliczenie płynnej zmiany jasności
		for (int i = 0; i < 512; i++){
			if (i != 0) t = (float) i / 512;
			int32_t currentBrightness = oldBrightness + (brightness - oldBrightness) * t;
			redDMAValues_NEW[i] = (uint32_t)(redStockBrigthnes[i] * (currentBrightness / 100.0));
			greenDMAValues_NEW[i] = (uint32_t)(greenStockBrigthnes[i] * (currentBrightness  / 100.0));
			blueDMAValues_NEW[i] = (uint32_t)(blueStockBrigthnes[i] * (currentBrightness  / 100.0));
		}
		// Pętla odpowiedzialna za wyliczenie wynikowej jasności diody (zmiana wypełnienia)
		for (int i = 0; i < 512; i++){
			redDMAValues_SPECIAL[i] = (uint32_t)round(redStockBrigthnes[i] * (brightness / 100));
			greenDMAValues_SPECIAL[i] = (uint32_t)round(greenStockBrigthnes[i] * (brightness / 100));
			blueDMABalues_SPECIAL[i] = (uint32_t)round(blueStockBrigthnes[i] * (brightness / 100));
		}
		callbackOne = 1;					// Wywołanie płynnej zmiany jasności
		callbackTwo = 1;					// Wywołanie statycznej jasności
		frameRecall(9005, EXECUTE);
	}
	return;
}

void RGBST(){
	// Zmienia stan diody na ON/OFF w zależności od argumentu funkcji.
	if (strcmp(commandArg, "ON") == 0) switch_PWM_DMA(redDMAValues_NEW, greenDMAValues_NEW, blueDMAValues_NEW, ON);
	else if (strcmp(commandArg, "OFF") == 0) switch_PWM_DMA(redDMAValues_NEW, greenDMAValues_NEW, blueDMAValues_NEW, OFF);
	else frameRecall(5008, EXECUTE);

	if (errorFlag == 0) frameRecall(9003, EXECUTE);
}

void GETST(){
	frameRecall(9004, EXECUTE);
	return;
}

// ====================================================== WYKONYWANIE KOMEND END ======================================================

// ====================================================== KOMUNIKATY ZWROTNE START ======================================================

void frameRecall(int ID, int sectionID){
    // Nazwy sekcji w której program zakończył działanie
	const char* sections[] = {"OutOfFrame\0","SENDER\0", "RECEIVER\0", "COMMAND_LENGTH\0", "COMMAND\0", "CHECK_SUM\0", "EXECUTE\0"};

    // Przypisanie nazwy sekcji poprzez odebrany identyfikator sekcji (przy wywołaniu funkcji)
    const char* section = sections[sectionID];

    // Zmienna zawierająca aktualny stan diody wł./wył. etc
	const char* ledStateInf[10];

	// brightness to INT
	int brightnessINT = (int)brightness;

    // Tablica zawierająca znaki które mają zostać wysłane
	char dataToSend[100];

    // Jeżeli identyfikator komunikatu pobrany podczas wywołania funkcji jest < 9000 jest to ID błędu
	if (ID < 9000) errorFlag = 1;

    // Switch dopisujący dane do komunikatu zwrotnego
	switch(ID){
	case 1001:
		sprintf(commandArg, "(1001 - Błąd sekcji %s, wykryto nieoczekiwane użycie separatora!)", section);
		break;
	case 1002:
		sprintf(commandArg, "(1002 - Błąd sekcji %s, nie wykryto separatora w oczekiwanym miejscu!)", section);
		break;
// +++++++++++++++++++++++++++++++++++++++++ DO SPRAWDZENIA +++++++++++++++++++++++++++++++++++++++++
	case 1003:
		sprintf(commandArg, "(1003 - Błąd sekcji %s, wykryto znak bitowego zera \\0 - przerwanie ciągu znaków!)", section);
		break;
// ----------------------------------------- DO SPRAWDZENIA -----------------------------------------
	case 2001:
		sprintf(commandArg, "(2001 - Błąd liczbowy w %s, odczytany znak nie jest cyfrą systemu dziesiętnego!)", section);
		break;
	case 2002:
		sprintf(commandArg, "(2002 - Błąd liczbowy w %s, wprowadzona wartość jest poza dopuszczalnym zakresem!)", section);
		break;
	case 4001:
		strcpy(commandArg, "(4001 - Błąd ramki, nieznany nadawca!)\0");
		break;
	case 4002:
		strcpy(commandArg, "(4002 - Błąd ramki, nieznany odbiorca!)\0");
		break;
	case 4003:
		strcpy(commandArg, "(4003 - Błąd ramki, wyliczona suma kontrolna z danych wynikowych jest inna od podanej!)\0");
		break;
	case 4004:
		strcpy(commandArg, "(4004 - Błąd ramki, długość otrzymanej komendy jest niezgodna z podaną!)\0");
		break;
	case 4005:
        strcpy(commandArg, "(4005 - Błąd ramki, nie wykryto separatorów argumentu w oczekiwanym miejscu!)\0");
		break;
	case 4006:
		strcpy(commandArg, "(4006 - Błąd ramki, wykryto separator argumentu w nieoczekiwanym miejscu!)\0");
		break;
	case 5001:
		strcpy(commandArg, "(5001 - Błąd komendy tekstowej, nieznana komenda!)\0");
		break;
	case 5002:
		strcpy(commandArg, "(5002 - Błąd komendy liczbowej, nieznana komenda!)\0");
		break;
	case 5003:
		strcpy(commandArg, "(5003 - Błąd typu komendy, nieznany typ komendy!)\0");
		break;
	case 5005:
		strcpy(commandArg, "(5005 - Nie znaleziono takiego efektu!)\0");
		break;
	case 5006:
		strcpy(commandArg, "(5006 - Nie znaleziono koloru!)\0");
		break;
	case 5007:
		strcpy(commandArg, "(5007 - Błąd komendy liczbowej, wykryto liczbe argumentów większą od 3!)\0");
		break;
	case 5008:
		strcpy(commandArg, "(5008 - Błąd komendy, nieprawidłowy argument!)\0");
		break;
	case 9001:
		strcpy(commandArg, "(9001 -Pomyślnie zmieniono kolor diody!)\0");
		break;
	case 9002:
		sprintf(commandArg, "(9002 - Pomyślnie zmieniono efekt diody na %s!)", actualEffect);
		break;
	case 9003:
		if (ledState == ON) strcpy(ledStateInf, "ON");
		else if (ledState == OFF) strcpy(ledStateInf, "OFF");
		sprintf(commandArg, "(9003 - Pomyślnie zmieniono stan diody na %s!)", ledStateInf);
		break;
	case 9004:
		if (ledState == ON) strcpy(ledStateInf, "ON");
		if (ledState == OFF) strcpy(ledStateInf, "OFF");
		sprintf(commandArg, "(9004 - Stan: %s,Jasność: %d%%,Efekt: %s!)",ledStateInf, brightnessINT, actualEffect);
		break;
	case 9005:
		sprintf(commandArg, "(9005 - Pomyślnie zmieniono jasność diody na %d %%!)", brightnessINT);
		break;
	default:
        // Na potrzeby wersji DEBUG
		strcpy(commandArg, "Niezidentyfikowany\0");
	}

    // Przypisane odpowiedniego nagłówka komunikatu zwrotnego poprzez sprawdzenie jego ID
	if (ID < 2000) strcpy(dataToSend, "TXTWRNSEC\0");                                           // Błędy sekcji
	else if (ID > 2000 && ID < 3000) strcpy(dataToSend, "TXTWRNNUM\0");                         // Błędy liczbowe
	else if (ID > 4000 && ID < 5000) strcpy(dataToSend, "TXTWRNFRM\0");                         // Błędy w ramce
	else if (ID > 5000 && ID < 6000) strcpy(dataToSend, "TXTWRNCMD\0");                         // Błędy w komendach (zła komenda etc.)
	else if (ID > 9000 && ID < 10000) strcpy(dataToSend, "TXTCMDCRR\0");                        // Komunikat o prawidłowej obsłudze ramki + komendy
	else strcpy(dataToSend, "UNKNOWN\0");                                                       // Na potrzeby wersji DEBUG

	// Połączenie wiadomości do wysłania i obliczenia sumy kontrolnej
	strcat(dataToSend, commandArg);
	maxCmdLen = strlen(dataToSend);                                                             // Wyliczenie długości danych
	crc_value = crc(dataToSend, maxCmdLen) % 999;                                               // Wyliczenie sumy CRC
    // Wysłanie komunikatu
	USART_fsend("\n\r@%s:%s:%d:%s:%d$\n\r\0", recAdr, senAdr, maxCmdLen, dataToSend, crc_value);
	return;
}

// ====================================================== KOMUNIKATY ZWROTNE END ======================================================

/* USER CODE END 0 */

int main(void)
{

  /* MCU Configuration--------------------------------------------------------*/

  /* Reset of all peripherals, Initializes the Flash interface and the Systick. */
  HAL_Init();

  /* Configure the system clock */
  SystemClock_Config();

  /* Initialize all configured peripherals */
  MX_GPIO_Init();
  MX_DMA_Init();
  MX_USART2_UART_Init();
  MX_TIM4_Init();
  /* USER CODE BEGIN 2 */

  // Inicjalizacja odbioru USART
  HAL_UART_Receive_IT(&huart2,&RX_BF[0],1);
  // Inicjalizacja PWM + DMA
  start_PWM_DMA();

  /* USER CODE END 2 */

  /* Infinite loop */
  while (1)
  {
	  /* USER CODE BEGIN 3 */
	  searchFrame();										// Szukanie ramki
  }
  /* USER CODE END 3 */
}

void SystemClock_Config(void)
{
  RCC_OscInitTypeDef RCC_OscInitStruct = {0};
  RCC_ClkInitTypeDef RCC_ClkInitStruct = {0};
  RCC_PeriphCLKInitTypeDef PeriphClkInit = {0};

  /** Initializes the RCC Oscillators according to the specified parameters
  * in the RCC_OscInitTypeDef structure.
  */
  RCC_OscInitStruct.OscillatorType = RCC_OSCILLATORTYPE_HSE;
  RCC_OscInitStruct.HSEState = RCC_HSE_ON;
  RCC_OscInitStruct.HSIState = RCC_HSI_ON;
  RCC_OscInitStruct.PLL.PLLState = RCC_PLL_ON;
  RCC_OscInitStruct.PLL.PLLSource = RCC_PLLSOURCE_HSE;
  RCC_OscInitStruct.PLL.PLLMUL = RCC_PLL_MUL9;
  RCC_OscInitStruct.PLL.PREDIV = RCC_PREDIV_DIV1;
  if (HAL_RCC_OscConfig(&RCC_OscInitStruct) != HAL_OK)
  {
    Error_Handler();
  }

  /** Initializes the CPU, AHB and APB buses clocks
  */
  RCC_ClkInitStruct.ClockType = RCC_CLOCKTYPE_HCLK|RCC_CLOCKTYPE_SYSCLK
                              |RCC_CLOCKTYPE_PCLK1|RCC_CLOCKTYPE_PCLK2;
  RCC_ClkInitStruct.SYSCLKSource = RCC_SYSCLKSOURCE_PLLCLK;
  RCC_ClkInitStruct.AHBCLKDivider = RCC_SYSCLK_DIV2;
  RCC_ClkInitStruct.APB1CLKDivider = RCC_HCLK_DIV2;
  RCC_ClkInitStruct.APB2CLKDivider = RCC_HCLK_DIV1;

  if (HAL_RCC_ClockConfig(&RCC_ClkInitStruct, FLASH_LATENCY_1) != HAL_OK)
  {
    Error_Handler();
  }
  PeriphClkInit.PeriphClockSelection = RCC_PERIPHCLK_USART2|RCC_PERIPHCLK_TIM34;
  PeriphClkInit.Usart2ClockSelection = RCC_USART2CLKSOURCE_PCLK1;
  PeriphClkInit.Tim34ClockSelection = RCC_TIM34CLK_HCLK;
  if (HAL_RCCEx_PeriphCLKConfig(&PeriphClkInit) != HAL_OK)
  {
    Error_Handler();
  }
}

static void MX_TIM4_Init(void)
{

  TIM_ClockConfigTypeDef sClockSourceConfig = {0};
  TIM_MasterConfigTypeDef sMasterConfig = {0};
  TIM_OC_InitTypeDef sConfigOC = {0};

  htim4.Instance = TIM4;
  htim4.Init.Prescaler = 35;
  htim4.Init.CounterMode = TIM_COUNTERMODE_UP;
  htim4.Init.Period = 999;
  htim4.Init.ClockDivision = TIM_CLOCKDIVISION_DIV1;
  htim4.Init.AutoReloadPreload = TIM_AUTORELOAD_PRELOAD_ENABLE;
  if (HAL_TIM_Base_Init(&htim4) != HAL_OK)
  {
    Error_Handler();
  }
  sClockSourceConfig.ClockSource = TIM_CLOCKSOURCE_INTERNAL;
  if (HAL_TIM_ConfigClockSource(&htim4, &sClockSourceConfig) != HAL_OK)
  {
    Error_Handler();
  }
  if (HAL_TIM_PWM_Init(&htim4) != HAL_OK)
  {
    Error_Handler();
  }
  sMasterConfig.MasterOutputTrigger = TIM_TRGO_RESET;
  sMasterConfig.MasterSlaveMode = TIM_MASTERSLAVEMODE_DISABLE;
  if (HAL_TIMEx_MasterConfigSynchronization(&htim4, &sMasterConfig) != HAL_OK)
  {
    Error_Handler();
  }
  sConfigOC.OCMode = TIM_OCMODE_PWM1;
  sConfigOC.Pulse = 0;
  sConfigOC.OCPolarity = TIM_OCPOLARITY_HIGH;
  sConfigOC.OCFastMode = TIM_OCFAST_DISABLE;
  if (HAL_TIM_PWM_ConfigChannel(&htim4, &sConfigOC, TIM_CHANNEL_1) != HAL_OK)
  {
    Error_Handler();
  }
  if (HAL_TIM_PWM_ConfigChannel(&htim4, &sConfigOC, TIM_CHANNEL_2) != HAL_OK)
  {
    Error_Handler();
  }
  if (HAL_TIM_PWM_ConfigChannel(&htim4, &sConfigOC, TIM_CHANNEL_3) != HAL_OK)
  {
    Error_Handler();
  }
  HAL_TIM_MspPostInit(&htim4);
}

static void MX_USART2_UART_Init(void)
{

  huart2.Instance = USART2;
  huart2.Init.BaudRate = 115200;
  huart2.Init.WordLength = UART_WORDLENGTH_8B;
  huart2.Init.StopBits = UART_STOPBITS_1;
  huart2.Init.Parity = UART_PARITY_NONE;
  huart2.Init.Mode = UART_MODE_TX_RX;
  huart2.Init.HwFlowCtl = UART_HWCONTROL_NONE;
  huart2.Init.OverSampling = UART_OVERSAMPLING_16;
  huart2.Init.OneBitSampling = UART_ONE_BIT_SAMPLE_DISABLE;
  huart2.AdvancedInit.AdvFeatureInit = UART_ADVFEATURE_NO_INIT;
  if (HAL_UART_Init(&huart2) != HAL_OK)
  {
    Error_Handler();
  }

}

static void MX_DMA_Init(void)
{

  /* DMA controller clock enable */
  __HAL_RCC_DMA1_CLK_ENABLE();

  /* DMA interrupt init */
  /* DMA1_Channel1_IRQn interrupt configuration */
  HAL_NVIC_SetPriority(DMA1_Channel1_IRQn, 0, 0);
  HAL_NVIC_EnableIRQ(DMA1_Channel1_IRQn);
  /* DMA1_Channel4_IRQn interrupt configuration */
  HAL_NVIC_SetPriority(DMA1_Channel4_IRQn, 0, 0);
  HAL_NVIC_EnableIRQ(DMA1_Channel4_IRQn);
  /* DMA1_Channel5_IRQn interrupt configuration */
  HAL_NVIC_SetPriority(DMA1_Channel5_IRQn, 0, 0);
  HAL_NVIC_EnableIRQ(DMA1_Channel5_IRQn);

}

static void MX_GPIO_Init(void)
{
  GPIO_InitTypeDef GPIO_InitStruct = {0};

  /* GPIO Ports Clock Enable */
  __HAL_RCC_GPIOC_CLK_ENABLE();
  __HAL_RCC_GPIOF_CLK_ENABLE();
  __HAL_RCC_GPIOA_CLK_ENABLE();
  __HAL_RCC_GPIOB_CLK_ENABLE();

  /*Configure GPIO pin Output Level */
  HAL_GPIO_WritePin(LD2_GPIO_Port, LD2_Pin, GPIO_PIN_RESET);

  /*Configure GPIO pin : B1_Pin */
  GPIO_InitStruct.Pin = B1_Pin;
  GPIO_InitStruct.Mode = GPIO_MODE_IT_FALLING;
  GPIO_InitStruct.Pull = GPIO_NOPULL;
  HAL_GPIO_Init(B1_GPIO_Port, &GPIO_InitStruct);

  /*Configure GPIO pin : LD2_Pin */
  GPIO_InitStruct.Pin = LD2_Pin;
  GPIO_InitStruct.Mode = GPIO_MODE_OUTPUT_PP;
  GPIO_InitStruct.Pull = GPIO_NOPULL;
  GPIO_InitStruct.Speed = GPIO_SPEED_FREQ_LOW;
  HAL_GPIO_Init(LD2_GPIO_Port, &GPIO_InitStruct);

}

void Error_Handler(void)
{
  __disable_irq();
  while (1)
  {
  }
}
